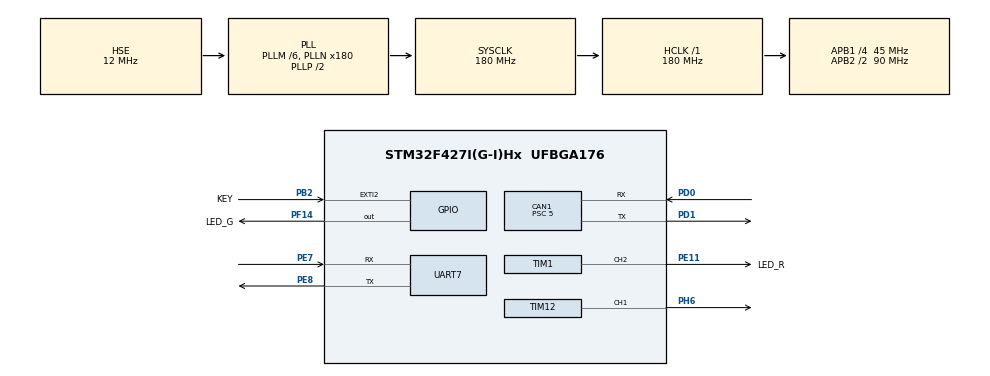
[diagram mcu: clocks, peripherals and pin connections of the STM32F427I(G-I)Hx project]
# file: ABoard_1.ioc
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CAN1.BS1=CAN_BS1_6TQ
CAN1.BS2=CAN_BS2_2TQ
CAN1.CalculateBaudRate=1000000
CAN1.CalculateTimeBit=1000
CAN1.CalculateTimeQuantum=111.11111111111111
CAN1.Prescaler=5
CAN1.SJW=CAN_SJW_1TQ
Dma.Request0=UART7_RX
Dma.Request1=UART7_TX
Dma.UART7_RX.0.Direction=DMA_PERIPH_TO_MEMORY
Dma.UART7_RX.0.FIFOMode=DMA_FIFOMODE_DISABLE
Dma.UART7_RX.0.Instance=DMA1_Stream3
Dma.UART7_RX.0.MemDataAlignment=DMA_MDATAALIGN_BYTE
Dma.UART7_RX.0.MemInc=DMA_MINC_ENABLE
Dma.UART7_RX.0.Mode=DMA_NORMAL
Dma.UART7_RX.0.PeriphDataAlignment=DMA_PDATAALIGN_BYTE
Dma.UART7_RX.0.PeriphInc=DMA_PINC_DISABLE
Dma.UART7_RX.0.Priority=DMA_PRIORITY_LOW
Dma.UART7_TX.1.Direction=DMA_MEMORY_TO_PERIPH
Dma.UART7_TX.1.FIFOMode=DMA_FIFOMODE_DISABLE
Dma.UART7_TX.1.Instance=DMA1_Stream1
Dma.UART7_TX.1.MemDataAlignment=DMA_MDATAALIGN_BYTE
Dma.UART7_TX.1.MemInc=DMA_MINC_ENABLE
Dma.UART7_TX.1.Mode=DMA_NORMAL
Dma.UART7_TX.1.PeriphDataAlignment=DMA_PDATAALIGN_BYTE
Dma.UART7_TX.1.PeriphInc=DMA_PINC_DISABLE
Dma.UART7_TX.1.Priority=DMA_PRIORITY_LOW
Mcu.Family=STM32F4
Mcu.Name=STM32F427I(G-I)Hx
Mcu.Package=UFBGA176
NVIC.CAN1_RX0_IRQn=true\:0\:0\:false\:false\:true\:true\:true\:true
NVIC.DMA1_Stream1_IRQn=true\:0\:0\:false\:false\:true\:false\:true\:true
NVIC.DMA1_Stream3_IRQn=true\:0\:0\:false\:false\:true\:false\:true\:true
NVIC.EXTI2_IRQn=true\:2\:0\:true\:false\:true\:true\:true\:true
NVIC.PriorityGroup=NVIC_PRIORITYGROUP_4
NVIC.TIM1_UP_TIM10_IRQn=true\:2\:0\:true\:false\:true\:true\:true\:true
NVIC.TIM6_DAC_IRQn=true\:2\:0\:true\:false\:true\:true\:true\:true
NVIC.UART7_IRQn=true\:2\:0\:true\:false\:true\:true\:true\:true
PA13.Mode=Serial_Wire
PA13.Signal=SYS_JTMS-SWDIO
PA14.Mode=Serial_Wire
PA14.Signal=SYS_JTCK-SWCLK
PB2/BOOT1.GPIO_Label=KEY
PB2/BOOT1.GPIO_ModeDefaultEXTI=GPIO_MODE_IT_RISING
PB2/BOOT1.GPIO_PuPd=GPIO_PULLDOWN
PB2/BOOT1.Signal=GPXTI2
PD0.Mode=CAN_Activate
PD0.Signal=CAN1_RX
PD1.Mode=CAN_Activate
PD1.Signal=CAN1_TX
PE11.GPIO_Label=LED_R
PE11.Signal=S_TIM1_CH2
PE7.Mode=Asynchronous
PE7.Signal=UART7_RX
PE8.Mode=Asynchronous
PE8.Signal=UART7_TX
PF14.GPIO_Label=LED_G
PF14.GPIO_PuPd=GPIO_PULLUP
PF14.Signal=GPIO_Output
PH0/OSC_IN.Mode=HSE-External-Oscillator
PH0/OSC_IN.Signal=RCC_OSC_IN
PH1/OSC_OUT.Mode=HSE-External-Oscillator
PH1/OSC_OUT.Signal=RCC_OSC_OUT
PH6.Signal=S_TIM12_CH1
ProjectManager.HeapSize=0x200
ProjectManager.StackSize=0x400
ProjectManager.TargetToolchain=MDK-ARM V5.32
RCC.48MHZClocksFreq_Value=90000000
RCC.AHBFreq_Value=180000000
RCC.APB1CLKDivider=RCC_HCLK_DIV4
RCC.APB1Freq_Value=45000000
RCC.APB1TimFreq_Value=90000000
RCC.APB2CLKDivider=RCC_HCLK_DIV2
RCC.APB2Freq_Value=90000000
RCC.APB2TimFreq_Value=180000000
RCC.CortexFreq_Value=180000000
RCC.EnbaleCSS=true
RCC.HCLKFreq_Value=180000000
RCC.HSE_VALUE=12000000
RCC.HSI_VALUE=16000000
RCC.LSE_VALUE=32768
RCC.PLLM=6
RCC.PLLN=180
RCC.PLLSourceVirtual=RCC_PLLSOURCE_HSE
RCC.SYSCLKFreq_VALUE=180000000
RCC.SYSCLKSource=RCC_SYSCLKSOURCE_PLLCLK
RCC.VCOOutputFreq_Value=360000000
SH.S_TIM12_CH1.0=TIM12_CH1,PWM Generation1 CH1
SH.S_TIM1_CH2.0=TIM1_CH2,PWM Generation2 CH2
TIM1.Channel-PWM\ Generation2\ CH2=TIM_CHANNEL_2
TIM1.OCMode_PWM-PWM\ Generation2\ CH2=TIM_OCMODE_PWM2
TIM1.Period=1000-1
TIM1.Prescaler=180-1
TIM1.Pulse-PWM\ Generation2\ CH2=500-1
TIM12.Channel-PWM\ Generation1\ CH1=TIM_CHANNEL_1
TIM12.Period=999
TIM12.Prescaler=89
TIM12.Pulse-PWM\ Generation1\ CH1=499
TIM6.Period=999
TIM6.Prescaler=89
UART7.Parity=PARITY_EVEN
UART7.VirtualMode=Asynchronous
UART7.WordLength=WORDLENGTH_9B
VP_TIM12_VS_ClockSourceINT.Mode=Internal
VP_TIM1_VS_ClockSourceINT.Mode=Internal
VP_TIM6_VS_ClockSourceINT.Mode=Enable_Timer
board=custom

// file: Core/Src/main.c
/* USER CODE BEGIN Header */
/**
  ******************************************************************************
  * @file           : main.c
  * @brief          : Main program body
  ******************************************************************************
  * @attention
  *
  * Copyright (c) 2025 STMicroelectronics.
  * All rights reserved.
  *
  * This software is licensed under terms that can be found in the LICENSE file
  * in the root directory of this software component.
  * If no LICENSE file comes with this software, it is provided AS-IS.
  *
  ******************************************************************************
  */
/* USER CODE END Header */
#include "main.h"
#include "can.h"
#include "dma.h"
#include "gpio.h"
#include "tim.h"
#include "usart.h"

/* USER CODE BEGIN Includes */
#include "math.h"
#include <string.h>
/* USER CODE END Includes */

/* USER CODE BEGIN PV */
uint32_t ticks = 0;
volatile uint8_t state = 0;
uint8_t rx_buffer[20], tx_buffer[20];

CAN_FilterTypeDef filter1 = { .FilterIdLow = 0x0000,
                              .FilterIdHigh = 0x0000,
                              .FilterMaskIdHigh = 0x0000,
                              .FilterMaskIdLow = 0x0000,
                              .FilterFIFOAssignment = CAN_FilterFIFO0,
                              .FilterBank = 0,
                              .FilterMode = CAN_FILTERMODE_IDMASK,
                              .FilterScale = CAN_FILTERSCALE_32BIT,
                              .FilterActivation = ENABLE };
/* USER CODE END PV */

void SystemClock_Config(void);

int main(void) {

    /* MCU Configuration--------------------------------------------------------*/

    /* Reset of all peripherals, Initializes the Flash interface and the Systick. */
    HAL_Init();

    /* USER CODE BEGIN Init */
    __HAL_FREEZE_IWDG_DBGMCU();
    /* USER CODE END Init */

    /* Configure the system clock */
    SystemClock_Config();

    /* Initialize all configured peripherals */
    MX_GPIO_Init();
    MX_DMA_Init();
    MX_TIM1_Init();
    MX_TIM12_Init();
    MX_UART7_Init();
    MX_CAN1_Init();
    MX_TIM6_Init();
    /* USER CODE BEGIN 2 */
    HAL_TIM_Base_Start_IT(&htim1);
    HAL_TIM_PWM_Start(&htim1, TIM_CHANNEL_2);
    HAL_UARTEx_ReceiveToIdle_DMA(&huart7, rx_buffer, 20);
    HAL_GPIO_WritePin(LED_G_GPIO_Port, LED_G_Pin, GPIO_PIN_SET);

    HAL_CAN_ConfigFilter(&hcan1, &filter1);
    HAL_CAN_Start(&hcan1);
    HAL_CAN_ActivateNotification(&hcan1, CAN_IT_RX_FIFO0_MSG_PENDING);

    HAL_TIM_Base_Start_IT(&htim6);
    /* USER CODE END 2 */

    /* Infinite loop */
    while (1) {
    }

}

void SystemClock_Config(void) {
    RCC_OscInitTypeDef RCC_OscInitStruct = { 0 };
    RCC_ClkInitTypeDef RCC_ClkInitStruct = { 0 };

    /** Configure the main internal regulator output voltage
  */
    __HAL_RCC_PWR_CLK_ENABLE();
    __HAL_PWR_VOLTAGESCALING_CONFIG(PWR_REGULATOR_VOLTAGE_SCALE1);

    /** Initializes the RCC Oscillators according to the specified parameters
  * in the RCC_OscInitTypeDef structure.
  */
    RCC_OscInitStruct.OscillatorType = RCC_OSCILLATORTYPE_HSE;
    RCC_OscInitStruct.HSEState = RCC_HSE_ON;
    RCC_OscInitStruct.PLL.PLLState = RCC_PLL_ON;
    RCC_OscInitStruct.PLL.PLLSource = RCC_PLLSOURCE_HSE;
    RCC_OscInitStruct.PLL.PLLM = 6;
    RCC_OscInitStruct.PLL.PLLN = 180;
    RCC_OscInitStruct.PLL.PLLP = RCC_PLLP_DIV2;
    RCC_OscInitStruct.PLL.PLLQ = 4;
    if (HAL_RCC_OscConfig(&RCC_OscInitStruct) != HAL_OK) {
        Error_Handler();
    }

    /** Activate the Over-Drive mode
  */
    if (HAL_PWREx_EnableOverDrive() != HAL_OK) {
        Error_Handler();
    }

    /** Initializes the CPU, AHB and APB buses clocks
  */
    RCC_ClkInitStruct.ClockType = RCC_CLOCKTYPE_HCLK | RCC_CLOCKTYPE_SYSCLK | RCC_CLOCKTYPE_PCLK1 | RCC_CLOCKTYPE_PCLK2;
    RCC_ClkInitStruct.SYSCLKSource = RCC_SYSCLKSOURCE_PLLCLK;
    RCC_ClkInitStruct.AHBCLKDivider = RCC_SYSCLK_DIV1;
    RCC_ClkInitStruct.APB1CLKDivider = RCC_HCLK_DIV4;
    RCC_ClkInitStruct.APB2CLKDivider = RCC_HCLK_DIV2;

    if (HAL_RCC_ClockConfig(&RCC_ClkInitStruct, FLASH_LATENCY_5) != HAL_OK) {
        Error_Handler();
    }

    /** Enables the Clock Security System
  */
    HAL_RCC_EnableCSS();
}

void Error_Handler(void) {
    __disable_irq();
    while (1) {
    }
}
